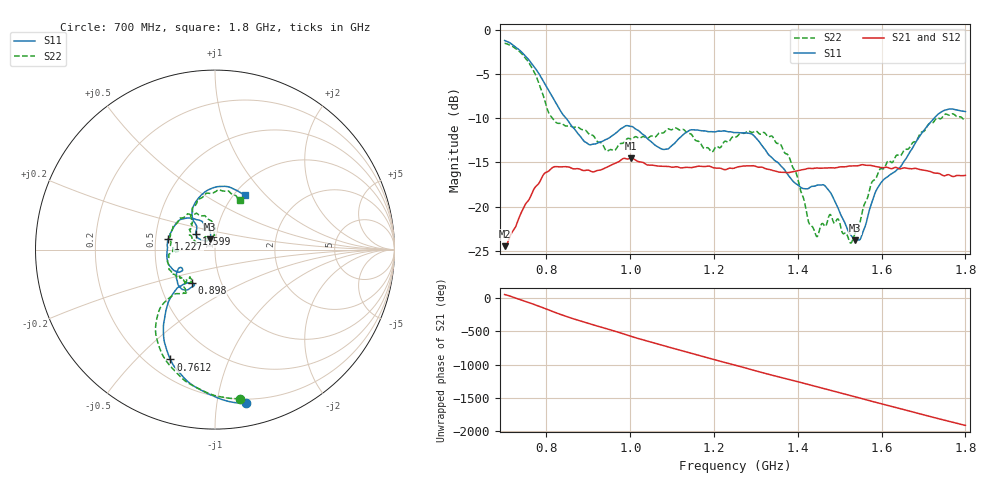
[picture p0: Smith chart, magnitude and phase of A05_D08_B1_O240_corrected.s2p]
! Created with skrf 1.9.0 (http://scikit-rf.org).
# Hz S RI R 50.0
!freq ReS11 ImS11 ReS21 ImS21 ReS12 ImS12 ReS22 ImS22
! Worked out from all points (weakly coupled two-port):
!   1601 points, 700 MHz to 1.8 GHz, reference 50 ohm
!   highest |S21| = -14.53 dB at 1.002 GHz (marker M1); lowest = -24.5 dB at 700.7 MHz (marker M2)
!   lowest |S11| = -23.8 dB at 1.537 GHz (marker M3), VSWR 1.14, Z = 46.9 + j5.42 ohm
!   |S11| at or under -10 dB: 846.9 MHz to 1.725 GHz (878.1 MHz wide, 68.3 % of centre)
!   |S22| runs from -24.1 to -1.5 dB; largest |S21 - S12| = 0.0037
!   S11 on the Smith chart (normalised r, x): 700 MHz: 0.17, -1.21; 761.2 MHz: 0.29, -0.63; 898 MHz: 0.72, -0.28; 1.227 GHz: 0.58, +0.08; 1.599 GHz: 0.80, +0.14; 1.8 GHz: 1.12, +0.77
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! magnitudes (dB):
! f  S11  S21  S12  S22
! 700 MHz  -1.2  -24.5  -24.3  -1.5
! 700.7 MHz  -1.2  -24.5  -24.2  -1.5
! 761.2 MHz  -3.6  -19.0  -18.9  -3.9
! 814.8 MHz  -7.6  -15.6  -15.6  -10.0
! 883.6 MHz  -12.2  -15.8  -15.7  -11.3
! 898 MHz  -12.9  -15.9  -15.9  -11.6
! 945.4 MHz  -12.3  -15.5  -15.5  -13.7
! 1.002 GHz  -10.9  -14.5  -14.6  -12.4
! 1.067 GHz  -13.3  -15.4  -15.4  -11.7
! 1.126 GHz  -11.8  -15.6  -15.6  -11.3
! 1.194 GHz  -11.5  -15.5  -15.5  -13.8
! 1.227 GHz  -11.4  -15.8  -15.7  -12.6
! 1.25 GHz  -11.6  -15.6  -15.5  -12.1
! 1.358 GHz  -15.3  -16.1  -16.1  -12.9
! 1.395 GHz  -17.4  -16.0  -16.0  -16.1
! 1.434 GHz  -17.7  -15.7  -15.7  -22.2
! 1.471 GHz  -18.0  -15.6  -15.6  -21.5
! 1.537 GHz  -23.8  -15.4  -15.4  -23.0
! 1.599 GHz  -17.3  -15.6  -15.6  -15.7
! 1.617 GHz  -16.5  -15.6  -15.6  -14.8
! 1.734 GHz  -9.6  -16.2  -16.3  -10.0
! 1.8 GHz  -9.2  -16.5  -16.5  -10.2
